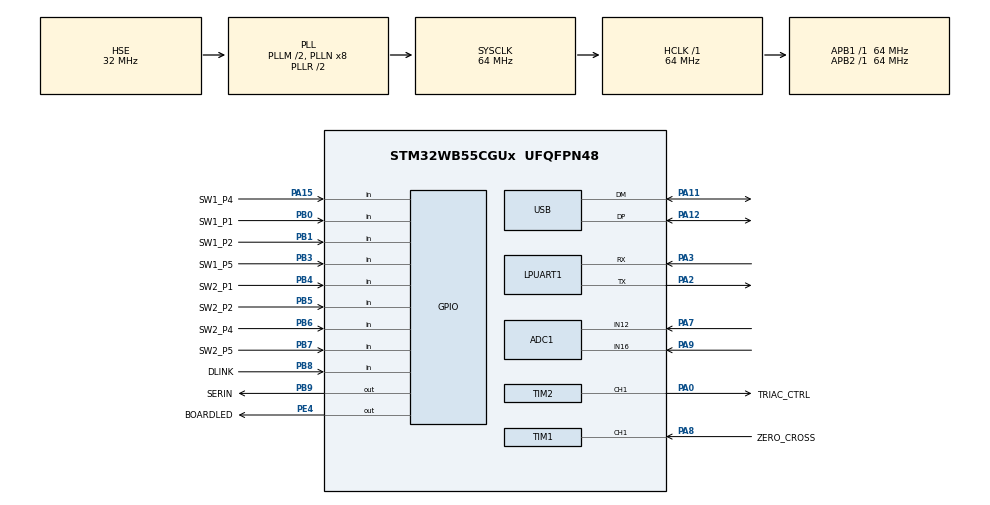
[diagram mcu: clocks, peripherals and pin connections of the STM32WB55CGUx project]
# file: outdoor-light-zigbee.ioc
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ADC1.Channel-11\#ChannelRegularConversion=ADC_CHANNEL_16
ADC1.Channel-12\#ChannelRegularConversion=ADC_CHANNEL_12
ADC1.Channel-13\#ChannelRegularConversion=ADC_CHANNEL_TEMPSENSOR
ADC1.Channel-14\#ChannelRegularConversion=ADC_CHANNEL_VREFINT
ADC1.DiscontinuousConvMode=ENABLE
ADC1.NbrOfConversion=4
ADC1.NbrOfConversionFlag=1
ADC1.NbrOfDiscConversion=4
ADC1.OffsetNumber-11\#ChannelRegularConversion=ADC_OFFSET_NONE
ADC1.OffsetNumber-12\#ChannelRegularConversion=ADC_OFFSET_NONE
ADC1.OffsetNumber-13\#ChannelRegularConversion=ADC_OFFSET_NONE
ADC1.OffsetNumber-14\#ChannelRegularConversion=ADC_OFFSET_NONE
ADC1.Rank-11\#ChannelRegularConversion=1
ADC1.Rank-12\#ChannelRegularConversion=2
ADC1.Rank-13\#ChannelRegularConversion=3
ADC1.Rank-14\#ChannelRegularConversion=4
ADC1.SamplingTime-11\#ChannelRegularConversion=ADC_SAMPLETIME_640CYCLES_5
ADC1.SamplingTime-12\#ChannelRegularConversion=ADC_SAMPLETIME_640CYCLES_5
ADC1.SamplingTime-13\#ChannelRegularConversion=ADC_SAMPLETIME_640CYCLES_5
ADC1.SamplingTime-14\#ChannelRegularConversion=ADC_SAMPLETIME_640CYCLES_5
ADC1.master=1
Dma.ADC1.1.Direction=DMA_PERIPH_TO_MEMORY
Dma.ADC1.1.EventEnable=DISABLE
Dma.ADC1.1.Instance=DMA1_Channel2
Dma.ADC1.1.MemDataAlignment=DMA_MDATAALIGN_HALFWORD
Dma.ADC1.1.MemInc=DMA_MINC_ENABLE
Dma.ADC1.1.Mode=DMA_CIRCULAR
Dma.ADC1.1.PeriphDataAlignment=DMA_PDATAALIGN_HALFWORD
Dma.ADC1.1.PeriphInc=DMA_PINC_DISABLE
Dma.ADC1.1.Polarity=HAL_DMAMUX_REQ_GEN_RISING
Dma.ADC1.1.Priority=DMA_PRIORITY_LOW
Dma.ADC1.1.RequestNumber=1
Dma.ADC1.1.SignalID=NONE
Dma.ADC1.1.SyncEnable=DISABLE
Dma.ADC1.1.SyncPolarity=HAL_DMAMUX_SYNC_NO_EVENT
Dma.ADC1.1.SyncRequestNumber=1
Dma.ADC1.1.SyncSignalID=NONE
Dma.LPUART1_TX.0.Direction=DMA_MEMORY_TO_PERIPH
Dma.LPUART1_TX.0.EventEnable=DISABLE
Dma.LPUART1_TX.0.Instance=DMA1_Channel1
Dma.LPUART1_TX.0.MemDataAlignment=DMA_MDATAALIGN_BYTE
Dma.LPUART1_TX.0.MemInc=DMA_MINC_ENABLE
Dma.LPUART1_TX.0.Mode=DMA_NORMAL
Dma.LPUART1_TX.0.PeriphDataAlignment=DMA_PDATAALIGN_BYTE
Dma.LPUART1_TX.0.PeriphInc=DMA_PINC_DISABLE
Dma.LPUART1_TX.0.Polarity=HAL_DMAMUX_REQ_GEN_RISING
Dma.LPUART1_TX.0.Priority=DMA_PRIORITY_LOW
Dma.LPUART1_TX.0.RequestNumber=1
Dma.LPUART1_TX.0.SignalID=NONE
Dma.LPUART1_TX.0.SyncEnable=DISABLE
Dma.LPUART1_TX.0.SyncPolarity=HAL_DMAMUX_SYNC_NO_EVENT
Dma.LPUART1_TX.0.SyncRequestNumber=1
Dma.LPUART1_TX.0.SyncSignalID=NONE
Dma.Request0=LPUART1_TX
Dma.Request1=ADC1
Mcu.Family=STM32WB
Mcu.Name=STM32WB55CGUx
Mcu.Package=UFQFPN48
NVIC.C2SEV_PWR_C2H_IRQn=true\:0\:0\:false\:false\:true\:true\:false\:true
NVIC.DMA1_Channel1_IRQn=true\:0\:0\:false\:false\:true\:false\:true\:true
NVIC.DMA1_Channel2_IRQn=true\:0\:0\:false\:false\:true\:false\:true\:true
NVIC.FLASH_IRQn=true\:0\:0\:false\:false\:true\:true\:true\:true
NVIC.FPU_IRQn=true\:0\:0\:false\:false\:true\:true\:false\:true
NVIC.HSEM_IRQn=true\:0\:0\:false\:false\:true\:false\:true\:true
NVIC.IPCC_C1_RX_IRQn=true\:0\:0\:false\:false\:true\:true\:true\:true
NVIC.IPCC_C1_TX_IRQn=true\:0\:0\:false\:false\:true\:true\:true\:true
NVIC.LPUART1_IRQn=true\:0\:0\:false\:false\:true\:true\:true\:true
NVIC.PVD_PVM_IRQn=true\:0\:0\:false\:false\:true\:true\:true\:true
NVIC.PWR_SOTF_BLEACT_802ACT_RFPHASE_IRQn=true\:0\:0\:false\:false\:true\:true\:false\:true
NVIC.PriorityGroup=NVIC_PRIORITYGROUP_4
NVIC.RCC_IRQn=true\:0\:0\:false\:false\:true\:true\:false\:true
NVIC.TIM1_BRK_IRQn=true\:0\:0\:false\:false\:true\:true\:true\:true
NVIC.TIM1_CC_IRQn=true\:0\:0\:false\:false\:true\:true\:true\:true
NVIC.TIM1_TRG_COM_TIM17_IRQn=true\:15\:0\:false\:false\:true\:true\:true\:true
NVIC.TIM1_UP_TIM16_IRQn=true\:0\:0\:true\:false\:true\:false\:true\:true
NVIC.USB_HP_IRQn=true\:0\:0\:false\:false\:true\:true\:true\:true
NVIC.USB_LP_IRQn=true\:0\:0\:false\:false\:true\:false\:true\:true
OSC_IN.Mode=HSE-External-Oscillator
OSC_IN.Signal=RCC_OSC_IN
OSC_OUT.Mode=HSE-External-Oscillator
OSC_OUT.Signal=RCC_OSC_OUT
PA0.GPIO_Label=TRIAC_CTRL
PA0.Signal=S_TIM2_CH1
PA11.Mode=Device
PA11.Signal=USB_DM
PA12.Mode=Device
PA12.Signal=USB_DP
PA15.GPIO_Label=SW1_P4
PA15.GPIO_PuPd=GPIO_PULLUP
PA15.Signal=GPIO_Input
PA2.Mode=Asynchronous
PA2.Signal=LPUART1_TX
PA3.Mode=Asynchronous
PA3.Signal=LPUART1_RX
PA7.Signal=ADCx_IN12
PA8.GPIO_Label=ZERO_CROSS
PA8.GPIO_PuPd=GPIO_PULLUP
PA8.Signal=S_TIM1_CH1
PA9.Signal=ADCx_IN16
PB0.GPIO_Label=SW1_P1
PB0.GPIO_PuPd=GPIO_PULLUP
PB0.Signal=GPIO_Input
PB1.GPIO_Label=SW1_P2
PB1.GPIO_PuPd=GPIO_PULLUP
PB1.Signal=GPIO_Input
PB3.GPIO_Label=SW1_P5
PB3.GPIO_PuPd=GPIO_PULLUP
PB3.Signal=GPIO_Input
PB4.GPIO_Label=SW2_P1
PB4.GPIO_PuPd=GPIO_PULLUP
PB4.Signal=GPIO_Input
PB5.GPIO_Label=SW2_P2
PB5.GPIO_PuPd=GPIO_PULLUP
PB5.Signal=GPIO_Input
PB6.GPIO_Label=SW2_P4
PB6.GPIO_PuPd=GPIO_PULLUP
PB6.Signal=GPIO_Input
PB7.GPIO_Label=SW2_P5
PB7.GPIO_PuPd=GPIO_PULLUP
PB7.Signal=GPIO_Input
PB8.GPIO_Label=DLINK
PB8.Signal=GPIO_Input
PB9.GPIO_Label=SERIN
PB9.GPIO_Speed=GPIO_SPEED_FREQ_HIGH
PB9.Signal=GPIO_Output
PC14-OSC32_IN.Mode=LSE-External-Oscillator
PC14-OSC32_IN.Signal=RCC_OSC32_IN
PC15-OSC32_OUT.Mode=LSE-External-Oscillator
PC15-OSC32_OUT.Signal=RCC_OSC32_OUT
PE4.GPIO_Label=BOARDLED
PE4.Signal=GPIO_Output
ProjectManager.HeapSize=0x19000
ProjectManager.StackSize=0x1000
ProjectManager.TargetToolchain=STM32CubeIDE
RCC.ADCFreq_Value=32000000
RCC.AHB2CLKDivider=RCC_SYSCLK_DIV2
RCC.AHBFreq_Value=64000000
RCC.APB1Freq_Value=64000000
RCC.APB1TimFreq_Value=64000000
RCC.APB2Freq_Value=64000000
RCC.APB2TimFreq_Value=64000000
RCC.APB3Freq_Value=16000000
RCC.CortexFreq_Value=64000000
RCC.HCLKFreq_Value=64000000
RCC.HSE_VALUE=32000000
RCC.HSI48_VALUE=48000000
RCC.HSI_VALUE=16000000
RCC.LPTIM1CLockSelection=RCC_LPTIM1CLKSOURCE_LSE
RCC.PLLM=RCC_PLLM_DIV2
RCC.PLLSAI1N=12
RCC.PLLSAI1Q=RCC_PLLQ_DIV4
RCC.PLLSAI1R=RCC_PLLR_DIV6
RCC.PLLSourceVirtual=RCC_PLLSOURCE_HSE
RCC.RTCClockSelection=RCC_RTCCLKSOURCE_LSE
RCC.SMPSDivider=1
RCC.SYSCLKFreq_VALUE=64000000
RCC.SYSCLKSource=RCC_SYSCLKSOURCE_PLLCLK
RCC.USBFreq_Value=48000000
RCC.VCOOutputFreq_Value=128000000
RF1.Mode=RF1_Activate
RF1.Signal=RF_RF1
RTC.WakeUpCounter-WakeUp=0x200
SH.ADCx_IN12.0=ADC1_IN12,IN12-Single-Ended
SH.ADCx_IN16.0=ADC1_IN16,IN16-Single-Ended
SH.S_TIM1_CH1.0=TIM1_CH1,Input_Capture1_from_TI1
SH.S_TIM1_CH1.1=TIM1_CH1,TriggerSource_TI1FP1
SH.S_TIM2_CH1.0=TIM2_CH1,PWM Generation1 CH1
STM32_WPAN.ENDPOINT1_DEVICE_ID=ZCL_DEVICE_LEVEL_OUTPUT
STM32_WPAN.ENDPOINT2_DEVICE_ID=ZCL_DEVICE_LEVEL_OUTPUT
STM32_WPAN.ENDPOINT3_DEVICE_ID=ZCL_DEVICE_LEVEL_OUTPUT
STM32_WPAN.ENDPOINT4_DEVICE_ID=ZCL_DEVICE_LEVEL_OUTPUT
STM32_WPAN.ENDPOINT5_DEVICE_ID=ZCL_DEVICE_LEVEL_OUTPUT
STM32_WPAN.ZCL_ELECTRICALMEASUREMENT_ENDPOINT1=NONE
STM32_WPAN.ZCL_ILLUMINANCE_MEASUREMENT_ENDPOINT1=SERVER
STM32_WPAN.ZCL_ONOFF_ENDPOINT1=NONE
STM32_WPAN.ZCL_TEMPERATURE_MEASUREMENT_ENDPOINT1=SERVER
STM32_WPAN.ZGB_CHANNEL=25
STM32_WPAN.ZGB_DEVICE_ROLE=END_DEVICE
STM32_WPAN.ZGB_NB_ENDPOINTS=6
STM32_WPAN.ZPARAM_TEMPERATURE_MEASUREMENT_MAX_ENDPOINT1=5000
STM32_WPAN.ZPARAM_TEMPERATURE_MEASUREMENT_MIN_ENDPOINT1=-2000
STM32_WPAN.ZPARAM_TEMPERATURE_MEASUREMENT_TOLERANCE_ENDPOINT1=200
TIM1.AutoReloadPreload=TIM_AUTORELOAD_PRELOAD_ENABLE
TIM1.Channel-Input_Capture1_from_TI1=TIM_CHANNEL_1
TIM1.Channel-Input_Capture2_from_TI1_63=TIM_CHANNEL_2
TIM1.Channel-PWM\ Generation3\ No\ Output=TIM_CHANNEL_3
TIM1.ICPolarity_CH2=TIM_INPUTCHANNELPOLARITY_FALLING
TIM1.OCMode_PWM-PWM\ Generation3\ No\ Output=TIM_OCMODE_PWM2
TIM1.Period=65535
TIM1.Prescaler=usec_ticks
TIM1.Pulse-PWM\ Generation3\ No\ Output=1
TIM1.TIM_MasterOutputTrigger=TIM_TRGO_OC3REF
TIM1.TIM_MasterOutputTrigger2=TIM_TRGO2_OC3REF
TIM16.AutoReloadPreload=TIM_AUTORELOAD_PRELOAD_ENABLE
TIM16.Channel=TIM_CHANNEL_1
TIM16.Prescaler=usec_ticks
TIM16.Pulse=1
TIM17.AutoReloadPreload=TIM_AUTORELOAD_PRELOAD_ENABLE
TIM17.Channel=TIM_CHANNEL_1
TIM17.Prescaler=ms_ticks
TIM17.Pulse=1
TIM2.AutoReloadPreload=TIM_AUTORELOAD_PRELOAD_ENABLE
TIM2.Channel-PWM\ Generation1\ CH1=TIM_CHANNEL_1
TIM2.CounterMode=TIM_COUNTERMODE_UP
TIM2.Period=fr60hz
TIM2.TIM_MasterSlaveMode=TIM_MASTERSLAVEMODE_ENABLE
USB_DEVICE.CLASS_NAME_FS=CDC
USB_DEVICE.VirtualMode=Cdc
USB_DEVICE.VirtualModeFS=Cdc_FS
VP_ADC1_TempSens_Input.Mode=IN-TempSens
VP_ADC1_Vref_Input.Mode=IN-Vrefint
VP_HSEM_VS_HSEM.Mode=HSEM_Activate
VP_IPCC_VS_IPCC.Mode=IPCC_Activate
VP_MEMORYMAP_VS_MEMORYMAP.Mode=CurAppReg
VP_RTC_VS_RTC_Activate.Mode=RTC_Enabled
VP_RTC_VS_RTC_WakeUp_intern.Mode=WakeUp
VP_SEQUENCER_VS_SEQUENCER.Mode=SEQUENCER_Enabled
VP_STM32_WPAN_VS_ZIGBEE.Mode=MOD_ZGB_ENDPOINT
VP_TIM16_VS_ClockSourceINT.Mode=Enable_Timer
VP_TIM16_VS_no_output1.Mode=Output Compare1 No Output
VP_TIM17_VS_ClockSourceINT.Mode=Enable_Timer
VP_TIM17_VS_no_output1.Mode=PWM Generation1 No Output
VP_TIM1_VS_ClockSourceINT.Mode=Internal
VP_TIM1_VS_ControllerModeReset.Mode=Reset Mode
VP_TIM1_VS_indirect_ch1.Mode=Input_Capture2_from_TI1_63
VP_TIM1_VS_no_output3.Mode=PWM Generation3 No Output
VP_TIM2_VS_ClockSourceINT.Mode=Internal
VP_TIM2_VS_ClockSourceITR.Mode=TriggerSource_ITR0
VP_TIM2_VS_ControllerModeCombinedResetTrigger.Mode=Combined_Reset_Trigger_Mode
VP_TINY_LPM_VS_TINY_LPM.Mode=TINY_LPM_Enabled
VP_USB_DEVICE_VS_USB_DEVICE_CDC_FS.Mode=CDC_FS
board=custom

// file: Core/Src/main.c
/* USER CODE BEGIN Header */
/**
  ******************************************************************************
  * @file           : main.c
  * @brief          : Main program body
  ******************************************************************************
  * @attention
  *
  * Copyright (c) 2024 STMicroelectronics.
  * All rights reserved.
  *
  * This software is licensed under terms that can be found in the LICENSE file
  * in the root directory of this software component.
  * If no LICENSE file comes with this software, it is provided AS-IS.
  *
  ******************************************************************************
  */
/* USER CODE END Header */
#include "main.h"
#include "usb_device.h"

/* USER CODE BEGIN Includes */
#include "stm32_seq.h"
#include "usbd_cdc_if.h"
#include "stm_logging.h"
#include "dbg_trace.h"
#include "zigbee.h"
#include "app_zigbee.h"
#include "stm32wbxx_ll_tim.h"

#include "../../board/controls.h"

/* USER CODE END Includes */

/* USER CODE BEGIN PD */

/* Default values to use when not set remotely */
/* Range: 0-100 % */
#define DEFAULT_AMBIENT_THRESHOLD 50
#define DEFAULT_DIM_LEVEL 50

/* USER CODE END PD */

ADC_HandleTypeDef hadc1;
DMA_HandleTypeDef hdma_adc1;

IPCC_HandleTypeDef hipcc;

UART_HandleTypeDef hlpuart1;
DMA_HandleTypeDef hdma_lpuart1_tx;

RTC_HandleTypeDef hrtc;

TIM_HandleTypeDef htim16;

/* USER CODE BEGIN PV */
uint32_t usec_ticks;
uint32_t timeSeconds = 0;

/* time since dusk transition happened */
uint32_t duskTime = 0;

/* value of log2illum at which transition has happened (might not be equal to the ambientThreshold) */
uint32_t duskTransition = 0, dawnTransition = 0xffff;

/* Track illumination change */
int32_t prevIllum = 0;

/* Time when motion was last detected*/
uint32_t motionTime = 0;

/* Currently set light level in % */
uint8_t lightLevel = 0;

/* The last time the light was on */
uint32_t lightOnTime = 0;

/* Global settings */

/* light brightness when in manual mode, 1-100% */
int32_t dimLevel;

/* ambient light threshold, 0-100% */
int32_t ambientThreshold;

/* motion sensor sensitivity, 0-100% */
int32_t motionSensitivity;

/* time to keep the light on after motion detection, seconds */
int32_t motionLight;

/* time to keep dimmed light after dusk, minutes */
int32_t nightLight;

/* Light operation mode, values are from enum operationModes */
uint16_t operationMode = OP_AUTO;

/* Slide switch position settings. */
/* Full on time after motion detected */
static unsigned motion_light_switch[] = { // seconds
		0, 60, 300, 600
};

/* Dimmed time after dusk */
static unsigned night_light_switch[] = { // minutes
		0, 60*3, 60*6, 60*12,
};

/* Correction for the inaccuracy in phase detection, microseconds.
 * Mostly caused by the optocoupler latency.
 * Relative to 5000: values less then 5000 mean triac is triggered sooner, and above 5000 triac is triggered later.
 */
int32_t phase_correction = 0;

/* The triac on Model1 PCB only works with trailing edge control mode.
 * When using other control circuits trailing_edge can be set to 0 to use leading edge mode.
 *  */
uint8_t trailing_edge = 1;

/* USER CODE END PV */

void SystemClock_Config(void);
void PeriphCommonClock_Config(void);
static void MX_GPIO_Init(void);
static void MX_DMA_Init(void);
static void MX_TIM17_Init(void);
static void MX_LPUART1_UART_Init(void);
static void MX_IPCC_Init(void);
static void MX_TIM1_Init(void);
static void MX_TIM2_Init(void);
static void MX_ADC1_Init(void);
static void MX_TIM16_Init(void);
static void MX_RTC_Init(void);
static void MX_RF_Init(void);

/* USER CODE BEGIN 0 */

void delay_us(uint16_t au16_us)
{
    LL_TIM_SetCounter(TIM16, 0);
    while (LL_TIM_GetCounter(TIM16) < au16_us);
}

void delay_ms(uint16_t au16_ms)
{
    while(au16_ms > 0)
    {
    	LL_TIM_SetCounter(TIM16, 0);
    	au16_ms--;
    	while (LL_TIM_GetCounter(TIM16) < 1000) {
    		;
    	}
    }
}

/*
 * Count seconds since start using the 16-bit timer with millisecond ticks
 * */
static uint16_t t17_prev = 0, t17_ms_accum = 0;
static void keep_time_seconds(void)
{
	uint16_t cnt = LL_TIM_GetCounter(TIM17) - t17_prev;
	t17_prev += cnt;
	cnt += t17_ms_accum;

	timeSeconds += cnt / 1000;
	t17_ms_accum = cnt % 1000;
}

int led_blink_count = 0;

/*
 * Use settings received remotely if connected to a network,
 * otherwise use settings from the local controls or defaults
 */
static
void check_and_update_settings(void)
{
	if (ZB_STATUS_SUCCESS == ZIGBEE_JoinStatus()) {
		update_motion_sensitivity(&motionSensitivity);
	} else {
		if (controls.slide_sw1 > 0 && controls.slide_sw1 <= lengthof(motion_light_switch))
			motionLight = motion_light_switch[controls.slide_sw1 - 1];

		if (controls.slide_sw2 > 0 && controls.slide_sw2 <= lengthof(motion_light_switch))
			nightLight = night_light_switch[controls.slide_sw2 - 1];

		ambientThreshold = DEFAULT_AMBIENT_THRESHOLD;
		dimLevel = DEFAULT_DIM_LEVEL;
		motion_send_configuration(controls.sensitivity);
	}
}

/* Auto select the light operation mode */
static
uint32_t auto_mode(void)
{
	uint32_t mode = OP_OFF;

	if (duskTime > 0 && timeSeconds < duskTime + abs(nightLight) * 60) {
		mode = OP_DIMMED;
	}

	if (duskTime > 0 && timeSeconds < motionTime + abs(motionLight)) {
		mode = OP_FULL;
	}
	return mode;
}

/* Apply light brightness level based on the current settings */
static
void check_and_update_light_level(void)
{
	uint32_t level = 100;
	uint32_t mode = operationMode;

	if (OP_AUTO == mode)
		mode = auto_mode();

	switch (mode) {
	case OP_AUTO:
		break;
	case OP_FULL:
		break;
	case OP_DIMMED:
		level = dimLevel;
		break;
	case OP_OFF:
		level = 0;
		break;
	default:
		return;
	}

	if (level != lightLevel)
		APP_ZIGBEE_update_lightstate(level > 0);

	lightLevel = level;

	if (level > 0)
		lightOnTime = timeSeconds;

	/* AC period */
	uint32_t pulse1 = LL_TIM_IC_GetCaptureCH1(TIM1);

	/* Duration of the detected pulse (sine top) */
	uint32_t pulse2 = LL_TIM_OC_GetCompareCH2(TIM1);

	LL_TIM_SetAutoReload(TIM2, pulse1 * usec_ticks / 2);

	uint32_t pwm_usec = (pulse1 * level) / 100 / 2;
	uint32_t zero_crossing_point = pulse2/2 + pulse1/4;

	if (trailing_edge)
		zero_crossing_point += pulse1 / 2 - pwm_usec;

	if (phase_correction > 0)
		zero_crossing_point += phase_correction;

	if (phase_correction < 0)
		zero_crossing_point -= abs(phase_correction);

	LL_TIM_OC_SetCompareCH3(TIM1, zero_crossing_point);

	uint32_t pwm_ticks = pwm_usec * usec_ticks;
	LL_TIM_OC_SetCompareCH1(TIM2, pwm_ticks);

}

/* Check the ambient light level to detect the dusk and the dawn */
static void detect_dusk_transition(void)
{
/* Detect transitions only the light is off or at least 1 min after it was on to have the sensor settled */
	if (lightLevel > 0 || timeSeconds - abs(lightOnTime) < 60)
		return;

	/* Dark to light transition: detect dawn */
	if ((duskTime > 0)
			&& ((int)controls.log2illum > ambientThreshold)
			/*&& (controls.log2illum > duskTransition)*/) {
		dawnTransition = prevIllum;
		duskTime = 0;
	}

	/* Light to dark transition: detect dusk */
	if ((duskTime == 0)
			&& ((int)controls.log2illum < ambientThreshold)
			/*&& (controls.log2illum < dawnTransition)*/) {
		duskTransition = prevIllum;
		duskTime = timeSeconds;
	}
	prevIllum = controls.log2illum;
	APP_ZIGBEE_update_dusk_detect(duskTime > 0);
}

/* Variables needed to track the time */
static unsigned prevTime = 0;
static int prevTemp = 0;

/* Main application loop */
void seq_main_loop(void)
{
	keep_time_seconds();
	check_and_update_light_level();

/* Check interval is 1sec */
	if (timeSeconds > prevTime) {
		prevTime = timeSeconds;
		readBoardControls(&hadc1);

		APP_ZIGBEE_update_motion_detect(controls.motion);
		if (controls.motion)
			motionTime = timeSeconds;

		detect_dusk_transition();
		check_and_update_settings();

		if (prevTemp != controls.adc_temp) {
			prevTemp = controls.adc_temp;
			APP_ZIGBEE_update_temperature(controls.adc_temp);
		}
		APP_ZIGBEE_update_illum(controls.log2illum);
		APP_DBG("sw1: %d, sw2: %d, amb: %d, sen: %d raw: %d motion: %d \r",
				controls.slide_sw1, controls.slide_sw2, controls.log2illum, controls.sensitivity, controls.adc_voltage, controls.motion);
	}

	UTIL_SEQ_SetTask(1<< CFG_TASK_MAIN_LOOP, CFG_SCH_PRIO_1);
}

void seq_zb_leave(void)
{
}

#if 0
/* Debugging routine to direct the log output to the USB */
int _write(int file, char *ptr, int len) {
    static uint8_t rc = USBD_OK;

    do {
        rc = CDC_Transmit_FS((uint8_t *)ptr, len);
    } while (USBD_BUSY == rc);

    if (USBD_FAIL == rc) {
        /// NOTE: Should never reach here.
        /// TODO: Handle this error.
        return 0;
    }
    return len;
}
#endif

/* Apply the motion sensitivity setting when requested via the network */
void update_motion_sensitivity(int32_t *value)
{
	/* Value is ranged 0-100%, convert it to the proper range for controls and call the update function. */
	uint8_t threshold = ((100 - motionSensitivity) * 255) / 100;
	if (threshold > 255) threshold = 255;
	motion_send_configuration(threshold);
}

/* USER CODE END 0 */

int main(void)
{

  /* MCU Configuration--------------------------------------------------------*/

  /* Reset of all peripherals, Initializes the Flash interface and the Systick. */
  HAL_Init();
  /* Config code for STM32_WPAN (HSE Tuning must be done before system clock configuration) */
  MX_APPE_Config();

  /* Configure the system clock */
  SystemClock_Config();

/* Configure the peripherals common clocks */
  PeriphCommonClock_Config();

  /* IPCC initialisation */
  MX_IPCC_Init();

  /* Initialize all configured peripherals */
  MX_GPIO_Init();
  MX_DMA_Init();
  MX_USB_Device_Init();
  MX_TIM17_Init();
  MX_LPUART1_UART_Init();
  MX_TIM1_Init();
  MX_TIM2_Init();
  MX_ADC1_Init();
  MX_TIM16_Init();
  MX_RTC_Init();
  MX_RF_Init();
  /* USER CODE BEGIN 2 */
  HAL_ADCEx_Calibration_Start(&hadc1, ADC_SINGLE_ENDED);

  /* D.Sh. Crucial to prevent CPU2 from corrupting USB clock.
 * Credit: https://community.st.com/t5/stm32-mcus-wireless/usb-device-does-not-work-when-starting-ble-stack-on-stm32wb55/m-p/176360 */
//  LL_HSEM_1StepLock(HSEM, 5);
/* A more detailed code is in  PeriphCommonClock_Config*/

  LL_TIM_CC_EnableChannel(TIM1, LL_TIM_CHANNEL_CH1 | LL_TIM_CHANNEL_CH2 | LL_TIM_CHANNEL_CH3);
  LL_TIM_EnableCounter(TIM1);

  LL_TIM_CC_EnableChannel(TIM2, LL_TIM_CHANNEL_CH1);
  LL_TIM_EnableCounter(TIM2);
  LL_TIM_CC_EnableChannel(TIM17, LL_TIM_CHANNEL_CH1 );
  LL_TIM_EnableCounter(TIM17);
  LL_TIM_CC_EnableChannel(TIM16, LL_TIM_CHANNEL_CH1 );
  LL_TIM_EnableCounter(TIM16);

//  motion_send_configuration(&motionSensitivity);

  /* USER CODE END 2 */

  /* Init code for STM32_WPAN */
  MX_APPE_Init();

  /* Infinite loop */
  /* USER CODE BEGIN WHILE */
  UTIL_SEQ_RegTask(1<< CFG_TASK_MAIN_LOOP, UTIL_SEQ_RFU, seq_main_loop);
  UTIL_SEQ_RegTask(1<< CFG_TASK_ZB_LEAVE, UTIL_SEQ_RFU, seq_zb_leave);
  UTIL_SEQ_SetTask(1<< CFG_TASK_MAIN_LOOP, CFG_SCH_PRIO_1);
  APP_DBG("Test debug output\n");

//  int cnt = 0;
  while (1)
  {
//	  delay_ms(100);
//	  HAL_Delay(100);
//      if (cnt++ >= 1) {
//		  HAL_GPIO_TogglePin(BOARDLED_GPIO_Port, BOARDLED_Pin);
//		  cnt = 0;
//	  }
    /* USER CODE END WHILE */
    MX_APPE_Process();

  }
}

void SystemClock_Config(void)
{
  RCC_OscInitTypeDef RCC_OscInitStruct = {0};
  RCC_ClkInitTypeDef RCC_ClkInitStruct = {0};

  /** Configure LSE Drive Capability
  */
  HAL_PWR_EnableBkUpAccess();
  __HAL_RCC_LSEDRIVE_CONFIG(RCC_LSEDRIVE_MEDIUMHIGH);

  /** Configure the main internal regulator output voltage
  */
  __HAL_PWR_VOLTAGESCALING_CONFIG(PWR_REGULATOR_VOLTAGE_SCALE1);

  /** Initializes the RCC Oscillators according to the specified parameters
  * in the RCC_OscInitTypeDef structure.
  */
  RCC_OscInitStruct.OscillatorType = RCC_OSCILLATORTYPE_HSI|RCC_OSCILLATORTYPE_HSE
                              |RCC_OSCILLATORTYPE_LSE;
  RCC_OscInitStruct.HSEState = RCC_HSE_ON;
  RCC_OscInitStruct.LSEState = RCC_LSE_ON;
  RCC_OscInitStruct.HSIState = RCC_HSI_ON;
  RCC_OscInitStruct.HSICalibrationValue = RCC_HSICALIBRATION_DEFAULT;
  RCC_OscInitStruct.PLL.PLLState = RCC_PLL_ON;
  RCC_OscInitStruct.PLL.PLLSource = RCC_PLLSOURCE_HSE;
  RCC_OscInitStruct.PLL.PLLM = RCC_PLLM_DIV2;
  RCC_OscInitStruct.PLL.PLLN = 8;
  RCC_OscInitStruct.PLL.PLLP = RCC_PLLP_DIV2;
  RCC_OscInitStruct.PLL.PLLR = RCC_PLLR_DIV2;
  RCC_OscInitStruct.PLL.PLLQ = RCC_PLLQ_DIV2;
  if (HAL_RCC_OscConfig(&RCC_OscInitStruct) != HAL_OK)
  {
    Error_Handler();
  }

  /** Configure the SYSCLKSource, HCLK, PCLK1 and PCLK2 clocks dividers
  */
  RCC_ClkInitStruct.ClockType = RCC_CLOCKTYPE_HCLK4|RCC_CLOCKTYPE_HCLK2
                              |RCC_CLOCKTYPE_HCLK|RCC_CLOCKTYPE_SYSCLK
                              |RCC_CLOCKTYPE_PCLK1|RCC_CLOCKTYPE_PCLK2;
  RCC_ClkInitStruct.SYSCLKSource = RCC_SYSCLKSOURCE_PLLCLK;
  RCC_ClkInitStruct.AHBCLKDivider = RCC_SYSCLK_DIV1;
  RCC_ClkInitStruct.APB1CLKDivider = RCC_HCLK_DIV1;
  RCC_ClkInitStruct.APB2CLKDivider = RCC_HCLK_DIV1;
  RCC_ClkInitStruct.AHBCLK2Divider = RCC_SYSCLK_DIV2;
  RCC_ClkInitStruct.AHBCLK4Divider = RCC_SYSCLK_DIV1;

  if (HAL_RCC_ClockConfig(&RCC_ClkInitStruct, FLASH_LATENCY_3) != HAL_OK)
  {
    Error_Handler();
  }
}

void PeriphCommonClock_Config(void)
{
  RCC_PeriphCLKInitTypeDef PeriphClkInitStruct = {0};

  /** Initializes the peripherals clock
  */
  PeriphClkInitStruct.PeriphClockSelection = RCC_PERIPHCLK_SMPS|RCC_PERIPHCLK_RFWAKEUP
                              |RCC_PERIPHCLK_USB|RCC_PERIPHCLK_ADC;
  PeriphClkInitStruct.PLLSAI1.PLLN = 12;
  PeriphClkInitStruct.PLLSAI1.PLLP = RCC_PLLP_DIV2;
  PeriphClkInitStruct.PLLSAI1.PLLQ = RCC_PLLQ_DIV4;
  PeriphClkInitStruct.PLLSAI1.PLLR = RCC_PLLR_DIV6;
  PeriphClkInitStruct.PLLSAI1.PLLSAI1ClockOut = RCC_PLLSAI1_USBCLK|RCC_PLLSAI1_ADCCLK;
  PeriphClkInitStruct.UsbClockSelection = RCC_USBCLKSOURCE_PLLSAI1;
  PeriphClkInitStruct.AdcClockSelection = RCC_ADCCLKSOURCE_PLLSAI1;
  PeriphClkInitStruct.RFWakeUpClockSelection = RCC_RFWKPCLKSOURCE_HSE_DIV1024;
  PeriphClkInitStruct.SmpsClockSelection = RCC_SMPSCLKSOURCE_HSI;
  PeriphClkInitStruct.SmpsDivSelection = RCC_SMPSCLKDIV_RANGE0;

  if (HAL_RCCEx_PeriphCLKConfig(&PeriphClkInitStruct) != HAL_OK)
  {
    Error_Handler();
  }
  /* USER CODE BEGIN Smps */
#if (CFG_USB_INTERFACE_ENABLE != 0)
  RCC_CRSInitTypeDef RCC_CRSInitStruct = { 0 };
	/**
   * This prevents the CPU2 to disable the HSI48 oscillator when
   * it does not use anymore the RNG IP
   */
  LL_HSEM_1StepLock( HSEM, 5 );

  LL_RCC_HSI48_Enable();

  while(!LL_RCC_HSI48_IsReady());

  /* Select HSI48 as USB clock source */
  PeriphClkInitStruct.PeriphClockSelection = RCC_PERIPHCLK_USB;
  PeriphClkInitStruct.UsbClockSelection = RCC_USBCLKSOURCE_HSI48;
  HAL_RCCEx_PeriphCLKConfig(&PeriphClkInitStruct);

  /*Configure the clock recovery system (CRS)**********************************/

  /* Enable CRS Clock */
  __HAL_RCC_CRS_CLK_ENABLE();

  /* Default Synchro Signal division factor (not divided) */
  RCC_CRSInitStruct.Prescaler = RCC_CRS_SYNC_DIV1;

  /* Set the SYNCSRC[1:0] bits according to CRS_Source value */
  RCC_CRSInitStruct.Source = RCC_CRS_SYNC_SOURCE_USB;

  /* HSI48 is synchronized with USB SOF at 1KHz rate */
  RCC_CRSInitStruct.ReloadValue = RCC_CRS_RELOADVALUE_DEFAULT;
  RCC_CRSInitStruct.ErrorLimitValue = RCC_CRS_ERRORLIMIT_DEFAULT;

  RCC_CRSInitStruct.Polarity = RCC_CRS_SYNC_POLARITY_RISING;

  /* Set the TRIM[5:0] to the default value*/
  RCC_CRSInitStruct.HSI48CalibrationValue = RCC_CRS_HSI48CALIBRATION_DEFAULT;

  /* Start automatic synchronization */
  HAL_RCCEx_CRSConfig(&RCC_CRSInitStruct);
#endif
  /* USER CODE END Smps */
}

static void MX_ADC1_Init(void)
{

  ADC_ChannelConfTypeDef sConfig = {0};

  /** Common config
  */
  hadc1.Instance = ADC1;
  hadc1.Init.ClockPrescaler = ADC_CLOCK_ASYNC_DIV1;
  hadc1.Init.Resolution = ADC_RESOLUTION_12B;
  hadc1.Init.DataAlign = ADC_DATAALIGN_RIGHT;
  hadc1.Init.ScanConvMode = ADC_SCAN_ENABLE;
  hadc1.Init.EOCSelection = ADC_EOC_SINGLE_CONV;
  hadc1.Init.LowPowerAutoWait = DISABLE;
  hadc1.Init.ContinuousConvMode = DISABLE;
  hadc1.Init.NbrOfConversion = 4;
  hadc1.Init.DiscontinuousConvMode = ENABLE;
  hadc1.Init.NbrOfDiscConversion = 4;
  hadc1.Init.ExternalTrigConv = ADC_SOFTWARE_START;
  hadc1.Init.ExternalTrigConvEdge = ADC_EXTERNALTRIGCONVEDGE_NONE;
  hadc1.Init.DMAContinuousRequests = DISABLE;
  hadc1.Init.Overrun = ADC_OVR_DATA_PRESERVED;
  hadc1.Init.OversamplingMode = DISABLE;
  if (HAL_ADC_Init(&hadc1) != HAL_OK)
  {
    Error_Handler();
  }

  /** Configure Regular Channel
  */
  sConfig.Channel = ADC_CHANNEL_16;
  sConfig.Rank = ADC_REGULAR_RANK_1;
  sConfig.SamplingTime = ADC_SAMPLETIME_640CYCLES_5;
  sConfig.SingleDiff = ADC_SINGLE_ENDED;
  sConfig.OffsetNumber = ADC_OFFSET_NONE;
  sConfig.Offset = 0;
  if (HAL_ADC_ConfigChannel(&hadc1, &sConfig) != HAL_OK)
  {
    Error_Handler();
  }

  /** Configure Regular Channel
  */
  sConfig.Channel = ADC_CHANNEL_12;
  sConfig.Rank = ADC_REGULAR_RANK_2;
  if (HAL_ADC_ConfigChannel(&hadc1, &sConfig) != HAL_OK)
  {
    Error_Handler();
  }

  /** Configure Regular Channel
  */
  sConfig.Channel = ADC_CHANNEL_TEMPSENSOR;
  sConfig.Rank = ADC_REGULAR_RANK_3;
  if (HAL_ADC_ConfigChannel(&hadc1, &sConfig) != HAL_OK)
  {
    Error_Handler();
  }

  /** Configure Regular Channel
  */
  sConfig.Channel = ADC_CHANNEL_VREFINT;
  sConfig.Rank = ADC_REGULAR_RANK_4;
  if (HAL_ADC_ConfigChannel(&hadc1, &sConfig) != HAL_OK)
  {
    Error_Handler();
  }

}

static void MX_IPCC_Init(void)
{

  hipcc.Instance = IPCC;
  if (HAL_IPCC_Init(&hipcc) != HAL_OK)
  {
    Error_Handler();
  }

}

static void MX_LPUART1_UART_Init(void)
{

  hlpuart1.Instance = LPUART1;
  hlpuart1.Init.BaudRate = 209700;
  hlpuart1.Init.WordLength = UART_WORDLENGTH_8B;
  hlpuart1.Init.StopBits = UART_STOPBITS_1;
  hlpuart1.Init.Parity = UART_PARITY_NONE;
  hlpuart1.Init.Mode = UART_MODE_TX_RX;
  hlpuart1.Init.HwFlowCtl = UART_HWCONTROL_NONE;
  hlpuart1.Init.OneBitSampling = UART_ONE_BIT_SAMPLE_DISABLE;
  hlpuart1.Init.ClockPrescaler = UART_PRESCALER_DIV1;
  hlpuart1.AdvancedInit.AdvFeatureInit = UART_ADVFEATURE_NO_INIT;
  hlpuart1.FifoMode = UART_FIFOMODE_DISABLE;
  if (HAL_UART_Init(&hlpuart1) != HAL_OK)
  {
    Error_Handler();
  }
  if (HAL_UARTEx_SetTxFifoThreshold(&hlpuart1, UART_TXFIFO_THRESHOLD_1_8) != HAL_OK)
  {
    Error_Handler();
  }
  if (HAL_UARTEx_SetRxFifoThreshold(&hlpuart1, UART_RXFIFO_THRESHOLD_1_8) != HAL_OK)
  {
    Error_Handler();
  }
  if (HAL_UARTEx_DisableFifoMode(&hlpuart1) != HAL_OK)
  {
    Error_Handler();
  }

}

static void MX_RF_Init(void)
{

}

static void MX_RTC_Init(void)
{

  /** Initialize RTC Only
  */
  hrtc.Instance = RTC;
  hrtc.Init.HourFormat = RTC_HOURFORMAT_24;
  hrtc.Init.AsynchPrediv = CFG_RTC_ASYNCH_PRESCALER;
  hrtc.Init.SynchPrediv = CFG_RTC_SYNCH_PRESCALER;
  hrtc.Init.OutPut = RTC_OUTPUT_DISABLE;
  hrtc.Init.OutPutPolarity = RTC_OUTPUT_POLARITY_HIGH;
  hrtc.Init.OutPutType = RTC_OUTPUT_TYPE_OPENDRAIN;
  hrtc.Init.OutPutRemap = RTC_OUTPUT_REMAP_NONE;
  if (HAL_RTC_Init(&hrtc) != HAL_OK)
  {
    Error_Handler();
  }

  /** Enable the WakeUp
  */
  if (HAL_RTCEx_SetWakeUpTimer(&hrtc, 0x200, RTC_WAKEUPCLOCK_RTCCLK_DIV16) != HAL_OK)
  {
    Error_Handler();
  }

}

static void MX_TIM1_Init(void)
{

  /* USER CODE BEGIN TIM1_Init 0 */
	usec_ticks = (HAL_RCC_GetHCLKFreq() / 1000000);
//	uint32_t usec_ticks = 2*((HAL_RCC_GetHCLKFreq() + 32768) / 65536);
  /* USER CODE END TIM1_Init 0 */

  LL_TIM_InitTypeDef TIM_InitStruct = {0};
  LL_TIM_OC_InitTypeDef TIM_OC_InitStruct = {0};
  LL_TIM_BDTR_InitTypeDef TIM_BDTRInitStruct = {0};

  LL_GPIO_InitTypeDef GPIO_InitStruct = {0};

  /* Peripheral clock enable */
  LL_APB2_GRP1_EnableClock(LL_APB2_GRP1_PERIPH_TIM1);

  LL_AHB2_GRP1_EnableClock(LL_AHB2_GRP1_PERIPH_GPIOA);
  /**TIM1 GPIO Configuration
  PA8   ------> TIM1_CH1
  */
  GPIO_InitStruct.Pin = ZERO_CROSS_Pin;
  GPIO_InitStruct.Mode = LL_GPIO_MODE_ALTERNATE;
  GPIO_InitStruct.Speed = LL_GPIO_SPEED_FREQ_LOW;
  GPIO_InitStruct.OutputType = LL_GPIO_OUTPUT_PUSHPULL;
  GPIO_InitStruct.Pull = LL_GPIO_PULL_UP;
  GPIO_InitStruct.Alternate = LL_GPIO_AF_1;
  LL_GPIO_Init(ZERO_CROSS_GPIO_Port, &GPIO_InitStruct);

  /* TIM1 interrupt Init */
  NVIC_SetPriority(TIM1_BRK_IRQn, NVIC_EncodePriority(NVIC_GetPriorityGrouping(),0, 0));
  NVIC_EnableIRQ(TIM1_BRK_IRQn);
  NVIC_SetPriority(TIM1_UP_TIM16_IRQn, NVIC_EncodePriority(NVIC_GetPriorityGrouping(),0, 0));
  NVIC_EnableIRQ(TIM1_UP_TIM16_IRQn);
  NVIC_SetPriority(TIM1_TRG_COM_TIM17_IRQn, NVIC_EncodePriority(NVIC_GetPriorityGrouping(),15, 0));
  NVIC_EnableIRQ(TIM1_TRG_COM_TIM17_IRQn);
  NVIC_SetPriority(TIM1_CC_IRQn, NVIC_EncodePriority(NVIC_GetPriorityGrouping(),0, 0));
  NVIC_EnableIRQ(TIM1_CC_IRQn);

  TIM_InitStruct.Prescaler = usec_ticks;
  TIM_InitStruct.CounterMode = LL_TIM_COUNTERMODE_UP;
  TIM_InitStruct.Autoreload = 65535;
  TIM_InitStruct.ClockDivision = LL_TIM_CLOCKDIVISION_DIV1;
  TIM_InitStruct.RepetitionCounter = 0;
  LL_TIM_Init(TIM1, &TIM_InitStruct);
  LL_TIM_SetClockSource(TIM1, LL_TIM_CLOCKSOURCE_INTERNAL);
  LL_TIM_EnableARRPreload(TIM1);
  LL_TIM_OC_EnablePreload(TIM1, LL_TIM_CHANNEL_CH3);
  TIM_OC_InitStruct.OCMode = LL_TIM_OCMODE_PWM2;
  TIM_OC_InitStruct.OCState = LL_TIM_OCSTATE_DISABLE;
  TIM_OC_InitStruct.OCNState = LL_TIM_OCSTATE_DISABLE;
  TIM_OC_InitStruct.CompareValue = 1;
  TIM_OC_InitStruct.OCPolarity = LL_TIM_OCPOLARITY_HIGH;
  TIM_OC_InitStruct.OCNPolarity = LL_TIM_OCPOLARITY_HIGH;
  TIM_OC_InitStruct.OCIdleState = LL_TIM_OCIDLESTATE_LOW;
  TIM_OC_InitStruct.OCNIdleState = LL_TIM_OCIDLESTATE_LOW;
  LL_TIM_OC_Init(TIM1, LL_TIM_CHANNEL_CH3, &TIM_OC_InitStruct);
  LL_TIM_OC_DisableFast(TIM1, LL_TIM_CHANNEL_CH3);
  LL_TIM_SetTriggerInput(TIM1, LL_TIM_TS_TI1FP1);
  LL_TIM_SetSlaveMode(TIM1, LL_TIM_SLAVEMODE_RESET);
  LL_TIM_IC_SetFilter(TIM1, LL_TIM_CHANNEL_CH1, LL_TIM_IC_FILTER_FDIV1);
  LL_TIM_IC_SetPolarity(TIM1, LL_TIM_CHANNEL_CH1, LL_TIM_IC_POLARITY_RISING);
  LL_TIM_DisableIT_TRIG(TIM1);
  LL_TIM_DisableDMAReq_TRIG(TIM1);
  LL_TIM_SetTriggerOutput(TIM1, LL_TIM_TRGO_OC3REF);
  LL_TIM_SetTriggerOutput2(TIM1, LL_TIM_TRGO2_OC3);
  LL_TIM_DisableMasterSlaveMode(TIM1);
  LL_TIM_IC_SetActiveInput(TIM1, LL_TIM_CHANNEL_CH1, LL_TIM_ACTIVEINPUT_DIRECTTI);
  LL_TIM_IC_SetPrescaler(TIM1, LL_TIM_CHANNEL_CH1, LL_TIM_ICPSC_DIV1);
  LL_TIM_IC_SetActiveInput(TIM1, LL_TIM_CHANNEL_CH2, LL_TIM_ACTIVEINPUT_INDIRECTTI);
  LL_TIM_IC_SetPrescaler(TIM1, LL_TIM_CHANNEL_CH2, LL_TIM_ICPSC_DIV1);
  LL_TIM_IC_SetFilter(TIM1, LL_TIM_CHANNEL_CH2, LL_TIM_IC_FILTER_FDIV1);
  LL_TIM_IC_SetPolarity(TIM1, LL_TIM_CHANNEL_CH2, LL_TIM_IC_POLARITY_FALLING);
  TIM_BDTRInitStruct.OSSRState = LL_TIM_OSSR_DISABLE;
  TIM_BDTRInitStruct.OSSIState = LL_TIM_OSSI_DISABLE;
  TIM_BDTRInitStruct.LockLevel = LL_TIM_LOCKLEVEL_OFF;
  TIM_BDTRInitStruct.DeadTime = 0;
  TIM_BDTRInitStruct.BreakState = LL_TIM_BREAK_DISABLE;
  TIM_BDTRInitStruct.BreakPolarity = LL_TIM_BREAK_POLARITY_HIGH;
  TIM_BDTRInitStruct.BreakFilter = LL_TIM_BREAK_FILTER_FDIV1;
  TIM_BDTRInitStruct.BreakAFMode = LL_TIM_BREAK_AFMODE_INPUT;
  TIM_BDTRInitStruct.Break2State = LL_TIM_BREAK2_DISABLE;
  TIM_BDTRInitStruct.Break2Polarity = LL_TIM_BREAK2_POLARITY_HIGH;
  TIM_BDTRInitStruct.Break2Filter = LL_TIM_BREAK2_FILTER_FDIV1;
  TIM_BDTRInitStruct.Break2AFMode = LL_TIM_BREAK_AFMODE_INPUT;
  TIM_BDTRInitStruct.AutomaticOutput = LL_TIM_AUTOMATICOUTPUT_DISABLE;
  LL_TIM_BDTR_Init(TIM1, &TIM_BDTRInitStruct);
  /* USER CODE BEGIN TIM1_Init 2 */
  LL_TIM_EnableAllOutputs(TIM1);
  /* USER CODE END TIM1_Init 2 */

}

static void MX_TIM2_Init(void)
{

  /* USER CODE BEGIN TIM2_Init 0 */
	uint32_t fr60hz = ((HAL_RCC_GetHCLKFreq() + 60) / 120)/2;
  /* USER CODE END TIM2_Init 0 */

  LL_TIM_InitTypeDef TIM_InitStruct = {0};
  LL_TIM_OC_InitTypeDef TIM_OC_InitStruct = {0};

  LL_GPIO_InitTypeDef GPIO_InitStruct = {0};

  /* Peripheral clock enable */
  LL_APB1_GRP1_EnableClock(LL_APB1_GRP1_PERIPH_TIM2);

  TIM_InitStruct.Prescaler = 0;
  TIM_InitStruct.CounterMode = LL_TIM_COUNTERMODE_UP;
  TIM_InitStruct.Autoreload = fr60hz;
  TIM_InitStruct.ClockDivision = LL_TIM_CLOCKDIVISION_DIV1;
  LL_TIM_Init(TIM2, &TIM_InitStruct);
  LL_TIM_SetClockSource(TIM2, LL_TIM_CLOCKSOURCE_INTERNAL);
  LL_TIM_EnableARRPreload(TIM2);
  LL_TIM_OC_EnablePreload(TIM2, LL_TIM_CHANNEL_CH1);
  TIM_OC_InitStruct.OCMode = LL_TIM_OCMODE_PWM1;
  TIM_OC_InitStruct.OCState = LL_TIM_OCSTATE_DISABLE;
  TIM_OC_InitStruct.OCNState = LL_TIM_OCSTATE_DISABLE;
  TIM_OC_InitStruct.CompareValue = 0;
  TIM_OC_InitStruct.OCPolarity = LL_TIM_OCPOLARITY_HIGH;
  LL_TIM_OC_Init(TIM2, LL_TIM_CHANNEL_CH1, &TIM_OC_InitStruct);
  LL_TIM_OC_DisableFast(TIM2, LL_TIM_CHANNEL_CH1);
  LL_TIM_SetTriggerInput(TIM2, LL_TIM_TS_ITR0);
  LL_TIM_SetSlaveMode(TIM2, LL_TIM_SLAVEMODE_COMBINED_RESETTRIGGER);
  LL_TIM_DisableIT_TRIG(TIM2);
  LL_TIM_DisableDMAReq_TRIG(TIM2);
  LL_TIM_SetTriggerOutput(TIM2, LL_TIM_TRGO_RESET);
  LL_TIM_EnableMasterSlaveMode(TIM2);
  /* USER CODE BEGIN TIM2_Init 2 */
  LL_TIM_EnableAllOutputs(TIM2);

  /* USER CODE END TIM2_Init 2 */
  LL_AHB2_GRP1_EnableClock(LL_AHB2_GRP1_PERIPH_GPIOA);
  /**TIM2 GPIO Configuration
  PA0   ------> TIM2_CH1
  */
  GPIO_InitStruct.Pin = TRIAC_CTRL_Pin;
  GPIO_InitStruct.Mode = LL_GPIO_MODE_ALTERNATE;
  GPIO_InitStruct.Speed = LL_GPIO_SPEED_FREQ_LOW;
  GPIO_InitStruct.OutputType = LL_GPIO_OUTPUT_PUSHPULL;
  GPIO_InitStruct.Pull = LL_GPIO_PULL_NO;
  GPIO_InitStruct.Alternate = LL_GPIO_AF_1;
  LL_GPIO_Init(TRIAC_CTRL_GPIO_Port, &GPIO_InitStruct);

}

static void MX_TIM16_Init(void)
{

  TIM_OC_InitTypeDef sConfigOC = {0};
  TIM_BreakDeadTimeConfigTypeDef sBreakDeadTimeConfig = {0};

  htim16.Instance = TIM16;
  htim16.Init.Prescaler = usec_ticks;
  htim16.Init.CounterMode = TIM_COUNTERMODE_UP;
  htim16.Init.Period = 65535;
  htim16.Init.ClockDivision = TIM_CLOCKDIVISION_DIV1;
  htim16.Init.RepetitionCounter = 0;
  htim16.Init.AutoReloadPreload = TIM_AUTORELOAD_PRELOAD_ENABLE;
  if (HAL_TIM_Base_Init(&htim16) != HAL_OK)
  {
    Error_Handler();
  }
  if (HAL_TIM_OC_Init(&htim16) != HAL_OK)
  {
    Error_Handler();
  }
  sConfigOC.OCMode = TIM_OCMODE_TIMING;
  sConfigOC.Pulse = 1;
  sConfigOC.OCPolarity = TIM_OCPOLARITY_HIGH;
  sConfigOC.OCNPolarity = TIM_OCNPOLARITY_HIGH;
  sConfigOC.OCFastMode = TIM_OCFAST_DISABLE;
  sConfigOC.OCIdleState = TIM_OCIDLESTATE_RESET;
  sConfigOC.OCNIdleState = TIM_OCNIDLESTATE_RESET;
  if (HAL_TIM_OC_ConfigChannel(&htim16, &sConfigOC, TIM_CHANNEL_1) != HAL_OK)
  {
    Error_Handler();
  }
  sBreakDeadTimeConfig.OffStateRunMode = TIM_OSSR_DISABLE;
  sBreakDeadTimeConfig.OffStateIDLEMode = TIM_OSSI_DISABLE;
  sBreakDeadTimeConfig.LockLevel = TIM_LOCKLEVEL_OFF;
  sBreakDeadTimeConfig.DeadTime = 0;
  sBreakDeadTimeConfig.BreakState = TIM_BREAK_DISABLE;
  sBreakDeadTimeConfig.BreakPolarity = TIM_BREAKPOLARITY_HIGH;
  sBreakDeadTimeConfig.BreakFilter = 0;
  sBreakDeadTimeConfig.AutomaticOutput = TIM_AUTOMATICOUTPUT_DISABLE;
  if (HAL_TIMEx_ConfigBreakDeadTime(&htim16, &sBreakDeadTimeConfig) != HAL_OK)
  {
    Error_Handler();
  }

}

static void MX_TIM17_Init(void)
{

  /* USER CODE BEGIN TIM17_Init 0 */
	uint32_t ms_ticks = ((HAL_RCC_GetHCLKFreq() + 500) / 1000);
  /* USER CODE END TIM17_Init 0 */

  LL_TIM_InitTypeDef TIM_InitStruct = {0};
  LL_TIM_OC_InitTypeDef TIM_OC_InitStruct = {0};
  LL_TIM_BDTR_InitTypeDef TIM_BDTRInitStruct = {0};

  /* Peripheral clock enable */
  LL_APB2_GRP1_EnableClock(LL_APB2_GRP1_PERIPH_TIM17);

  /* TIM17 interrupt Init */
  NVIC_SetPriority(TIM1_TRG_COM_TIM17_IRQn, NVIC_EncodePriority(NVIC_GetPriorityGrouping(),15, 0));
  NVIC_EnableIRQ(TIM1_TRG_COM_TIM17_IRQn);

  TIM_InitStruct.Prescaler = ms_ticks;
  TIM_InitStruct.CounterMode = LL_TIM_COUNTERMODE_UP;
  TIM_InitStruct.Autoreload = 65535;
  TIM_InitStruct.ClockDivision = LL_TIM_CLOCKDIVISION_DIV1;
  TIM_InitStruct.RepetitionCounter = 0;
  LL_TIM_Init(TIM17, &TIM_InitStruct);
  LL_TIM_EnableARRPreload(TIM17);
  LL_TIM_OC_EnablePreload(TIM17, LL_TIM_CHANNEL_CH1);
  TIM_OC_InitStruct.OCMode = LL_TIM_OCMODE_PWM1;
  TIM_OC_InitStruct.OCState = LL_TIM_OCSTATE_DISABLE;
  TIM_OC_InitStruct.OCNState = LL_TIM_OCSTATE_DISABLE;
  TIM_OC_InitStruct.CompareValue = 1;
  TIM_OC_InitStruct.OCPolarity = LL_TIM_OCPOLARITY_HIGH;
  TIM_OC_InitStruct.OCNPolarity = LL_TIM_OCPOLARITY_HIGH;
  TIM_OC_InitStruct.OCIdleState = LL_TIM_OCIDLESTATE_LOW;
  TIM_OC_InitStruct.OCNIdleState = LL_TIM_OCIDLESTATE_LOW;
  LL_TIM_OC_Init(TIM17, LL_TIM_CHANNEL_CH1, &TIM_OC_InitStruct);
  LL_TIM_OC_DisableFast(TIM17, LL_TIM_CHANNEL_CH1);
  TIM_BDTRInitStruct.OSSRState = LL_TIM_OSSR_DISABLE;
  TIM_BDTRInitStruct.OSSIState = LL_TIM_OSSI_DISABLE;
  TIM_BDTRInitStruct.LockLevel = LL_TIM_LOCKLEVEL_OFF;
  TIM_BDTRInitStruct.DeadTime = 0;
  TIM_BDTRInitStruct.BreakState = LL_TIM_BREAK_DISABLE;
  TIM_BDTRInitStruct.BreakPolarity = LL_TIM_BREAK_POLARITY_HIGH;
  TIM_BDTRInitStruct.BreakFilter = LL_TIM_BREAK_FILTER_FDIV1;
  TIM_BDTRInitStruct.AutomaticOutput = LL_TIM_AUTOMATICOUTPUT_DISABLE;
  LL_TIM_BDTR_Init(TIM17, &TIM_BDTRInitStruct);

}

static void MX_DMA_Init(void)
{

  /* DMA controller clock enable */
  __HAL_RCC_DMAMUX1_CLK_ENABLE();
  __HAL_RCC_DMA1_CLK_ENABLE();

  /* DMA interrupt init */
  /* DMA1_Channel1_IRQn interrupt configuration */
  HAL_NVIC_SetPriority(DMA1_Channel1_IRQn, 0, 0);
  HAL_NVIC_EnableIRQ(DMA1_Channel1_IRQn);
  /* DMA1_Channel2_IRQn interrupt configuration */
  HAL_NVIC_SetPriority(DMA1_Channel2_IRQn, 0, 0);
  HAL_NVIC_EnableIRQ(DMA1_Channel2_IRQn);

}

static void MX_GPIO_Init(void)
{
  LL_GPIO_InitTypeDef GPIO_InitStruct = {0};

  /* GPIO Ports Clock Enable */
  LL_AHB2_GRP1_EnableClock(LL_AHB2_GRP1_PERIPH_GPIOC);
  LL_AHB2_GRP1_EnableClock(LL_AHB2_GRP1_PERIPH_GPIOB);
  LL_AHB2_GRP1_EnableClock(LL_AHB2_GRP1_PERIPH_GPIOA);
  LL_AHB2_GRP1_EnableClock(LL_AHB2_GRP1_PERIPH_GPIOE);

  /**/
  LL_GPIO_ResetOutputPin(SERIN_GPIO_Port, SERIN_Pin);

  /**/
  LL_GPIO_ResetOutputPin(BOARDLED_GPIO_Port, BOARDLED_Pin);

  /**/
  GPIO_InitStruct.Pin = DLINK_Pin;
  GPIO_InitStruct.Mode = LL_GPIO_MODE_INPUT;
  GPIO_InitStruct.Pull = LL_GPIO_PULL_NO;
  LL_GPIO_Init(DLINK_GPIO_Port, &GPIO_InitStruct);

  /**/
  GPIO_InitStruct.Pin = SERIN_Pin;
  GPIO_InitStruct.Mode = LL_GPIO_MODE_OUTPUT;
  GPIO_InitStruct.Speed = LL_GPIO_SPEED_FREQ_HIGH;
  GPIO_InitStruct.OutputType = LL_GPIO_OUTPUT_PUSHPULL;
  GPIO_InitStruct.Pull = LL_GPIO_PULL_NO;
  LL_GPIO_Init(SERIN_GPIO_Port, &GPIO_InitStruct);

  /**/
  GPIO_InitStruct.Pin = SW1_P1_Pin|SW1_P2_Pin|SW1_P5_Pin|SW2_P1_Pin
                          |SW2_P2_Pin|SW2_P4_Pin|SW2_P5_Pin;
  GPIO_InitStruct.Mode = LL_GPIO_MODE_INPUT;
  GPIO_InitStruct.Pull = LL_GPIO_PULL_UP;
  LL_GPIO_Init(GPIOB, &GPIO_InitStruct);

  /**/
  GPIO_InitStruct.Pin = BOARDLED_Pin;
  GPIO_InitStruct.Mode = LL_GPIO_MODE_OUTPUT;
  GPIO_InitStruct.Speed = LL_GPIO_SPEED_FREQ_LOW;
  GPIO_InitStruct.OutputType = LL_GPIO_OUTPUT_PUSHPULL;
  GPIO_InitStruct.Pull = LL_GPIO_PULL_NO;
  LL_GPIO_Init(BOARDLED_GPIO_Port, &GPIO_InitStruct);

  /**/
  GPIO_InitStruct.Pin = SW1_P4_Pin;
  GPIO_InitStruct.Mode = LL_GPIO_MODE_INPUT;
  GPIO_InitStruct.Pull = LL_GPIO_PULL_UP;
  LL_GPIO_Init(SW1_P4_GPIO_Port, &GPIO_InitStruct);

}

void Error_Handler(void)
{
  __disable_irq();
  while (1)
  {
  }
}
